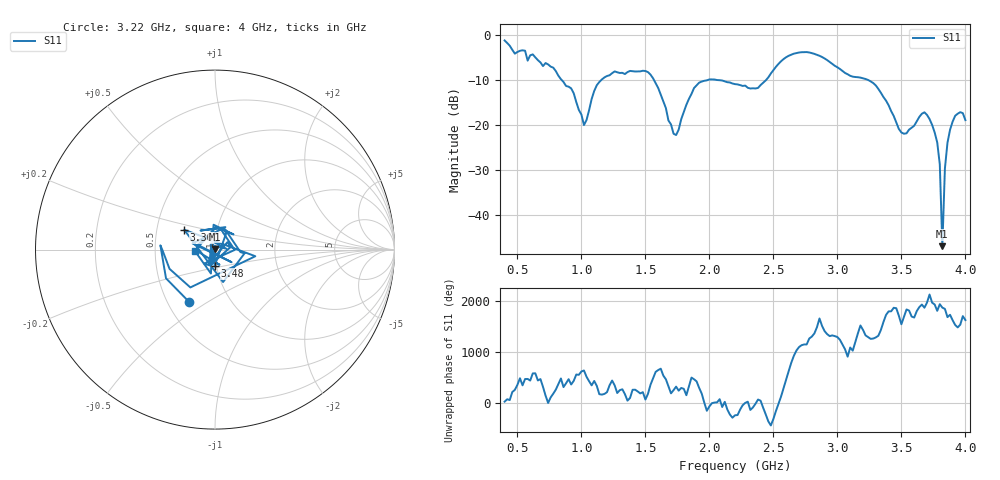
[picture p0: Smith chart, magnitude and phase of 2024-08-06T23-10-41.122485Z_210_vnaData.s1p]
!Created with skrf (http://scikit-rf.org).
# Hz S RI R 50.0
!freq ReS11 ImS11
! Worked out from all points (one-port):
!   181 points, 400 MHz to 4 GHz, reference 50 ohm
!   lowest |S11| = -47.0 dB at 3.82 GHz (marker M1), VSWR 1.01, Z = 50.2 + j0.412 ohm
!   |S11| at or under -10 dB: 1.567 GHz to 1.987 GHz (420.3 MHz wide, 23.6 % of centre); 2.059 GHz to 2.443 GHz (383.9 MHz wide, 17.1 % of centre); 3.24 GHz to end of sweep (the widest 3 of 4)
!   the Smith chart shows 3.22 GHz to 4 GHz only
!   S11 on the Smith chart (normalised r, x): 3.22 GHz: 0.64, -0.42; 3.36 GHz: 0.69, +0.16; 3.48 GHz: 0.98, -0.18; 4 GHz: 0.80, -0.01
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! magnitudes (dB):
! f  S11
! 400 MHz  -1.2
! 860 MHz  -10.4
! 940 MHz  -13.0
! 1.02 GHz  -20.0
! 1.12 GHz  -11.2
! 1.3 GHz  -8.4
! 1.52 GHz  -8.2
! 1.6 GHz  -11.8
! 1.72 GHz  -22.0
! 1.76 GHz  -21.0
! 1.92 GHz  -10.6
! 2.2 GHz  -10.9
! 2.38 GHz  -11.8
! 2.66 GHz  -4.1
! 2.86 GHz  -4.6
! 3.1 GHz  -9.1
! 3.22 GHz  -9.8
! 3.36 GHz  -13.8
! 3.48 GHz  -20.9
! 3.56 GHz  -21.0
! 3.68 GHz  -17.2
! 3.76 GHz  -21.7
! 3.8 GHz  -28.8
! 3.82 GHz  -47.0
! 3.84 GHz  -29.7
! 3.86 GHz  -24.0
! 3.92 GHz  -18.0
! 4 GHz  -18.9
